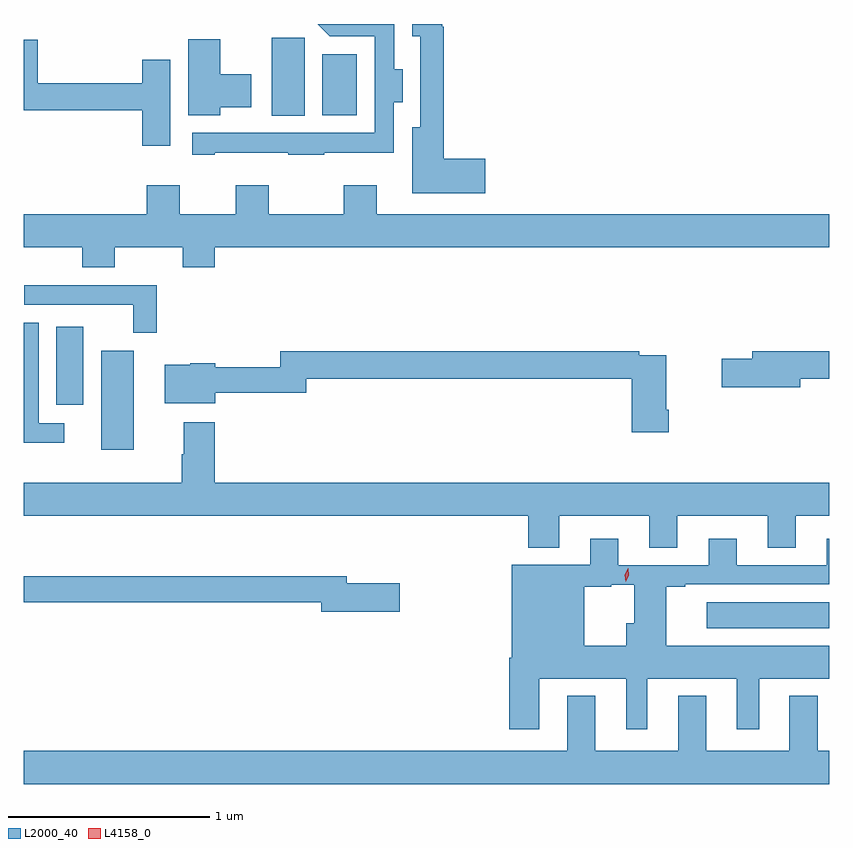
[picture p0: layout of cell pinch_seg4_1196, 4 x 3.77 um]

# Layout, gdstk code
import gdstk
lib = gdstk.Library(unit=1e-6, precision=1e-09)
def R(c, l, rs):  # rectangles x0, y0, x1, y1
    for r in rs: c.add(gdstk.rectangle(r[:2], r[2:], *l))
def P(c, l, *ps):  # polygons
    for p in ps: c.add(gdstk.Polygon(p, *l))
L2000_40 = (2000, 40)
L4158_0 = (4158, 0)

pinch_seg4_1196 = lib.new_cell('pinch_seg4_1196')
R(pinch_seg4_1196, L2000_40, [(373.275,808.25,373.883,808.378), (370.268,809.136,370.429,809.626), (370.046,809.358,370.18,809.746), (371.114,810.793,371.278,811.18), (371.366,810.797,371.536,811.099)])
P(pinch_seg4_1196, L2000_40, [(370.831,810.611),(371.197,810.611),(371.197,810.6),(371.375,810.6),(371.375,810.611),(371.721,810.611),(371.721,810.86),(371.764,810.86),(371.764,811.024),(371.722,811.024),(371.722,811.249),(371.342,811.249),(371.403,811.188),(371.625,811.188),(371.625,810.708),(370.719,810.708),(370.719,810.6),(370.831,810.6)],
  [(372.175,810.581),(371.969,810.581),(371.969,811.235),(371.962,811.235),(371.962,811.249),(371.813,811.249),(371.813,811.187),(371.853,811.187),(371.853,810.736),(371.813,810.736),(371.813,810.41),(372.175,810.41)],
  [(370.858,810.836),(371.014,810.836),(371.014,811),(370.858,811),(370.858,811.174),(370.7,811.174),(370.7,810.797),(370.858,810.797)],
  [(370.612,811.072),(370.472,811.072),(370.472,810.956),(369.953,810.956),(369.953,811.171),(369.883,811.171),(369.883,810.82),(370.472,810.82),(370.472,810.645),(370.612,810.645)],
  [(373.883,810.304),(371.635,810.304),(371.635,810.448),(371.471,810.448),(371.471,810.304),(371.101,810.304),(371.101,810.448),(370.937,810.448),(370.937,810.304),(370.657,810.304),(370.657,810.448),(370.493,810.448),(370.493,810.304),(369.883,810.304),(369.883,810.14),(370.175,810.14),(370.175,810.041),(370.335,810.041),(370.335,810.14),(370.672,810.14),(370.672,810.041),(370.832,810.041),(370.832,810.14),(373.883,810.14)],
  [(370.544,809.952),(369.885,809.952),(369.885,809.856),(370.426,809.856),(370.426,809.715),(370.544,809.715)],
  [(370.084,809.268),(369.958,809.268),(369.958,809.766),(369.883,809.766),(369.883,809.171),(370.084,809.171)],
  [(373.085,809.335),(373.072,809.335),(373.072,809.604),(372.938,809.604),(372.938,809.624),(371.157,809.624),(371.157,809.546),(370.834,809.546),(370.834,809.565),(370.709,809.565),(370.709,809.557),(370.583,809.557),(370.583,809.366),(370.834,809.366),(370.834,809.418),(371.285,809.418),(371.285,809.488),(372.902,809.488),(372.902,809.223),(373.085,809.223)],
  [(373.738,809.488),(373.883,809.488),(373.883,809.624),(373.499,809.624),(373.499,809.588),(373.35,809.588),(373.35,809.446),(373.738,809.446)],
  [(373.129,808.808),(373.577,808.808),(373.577,808.648),(373.717,808.648),(373.717,808.808),(373.883,808.808),(373.883,808.972),(370.832,808.972),(370.832,809.272),(370.679,809.272),(370.679,809.114),(370.667,809.114),(370.667,808.972),(369.883,808.972),(369.883,808.808),(372.389,808.808),(372.389,808.649),(372.541,808.649),(372.541,808.808),(372.989,808.808),(372.989,808.648),(373.129,808.648)],
  [(372.293,808.102),(372.293,807.747),(372.442,807.747),(372.442,807.998),(372.875,807.998),(372.875,807.747),(372.979,807.747),(372.979,807.998),(373.424,807.998),(373.424,807.747),(373.534,807.747),(373.534,807.998),(373.883,807.998),(373.883,808.162),(373.072,808.162),(373.072,808.455),(373.168,808.455),(373.168,808.467),(373.883,808.467),(373.883,808.693),(373.871,808.693),(373.871,808.563),(373.423,808.563),(373.423,808.693),(373.283,808.693),(373.283,808.563),(372.835,808.563),(372.835,808.693),(372.695,808.693),(372.695,808.564),(372.305,808.564),(372.305,808.162),(372.667,808.162),(372.667,808.455),(372.799,808.455),(372.799,808.466),(372.914,808.466),(372.914,808.273),(372.875,808.273),(372.875,808.162),(372.667,808.162),(372.305,808.162),(372.305,808.102)],
  [(371.749,808.473),(371.488,808.473),(371.488,808.507),(369.883,808.507),(369.883,808.378),(371.36,808.378),(371.36,808.331),(371.749,808.331)],
  [(373.883,807.64),(373.825,807.64),(373.825,807.913),(373.685,807.913),(373.685,807.64),(373.273,807.64),(373.273,807.913),(373.133,807.913),(373.133,807.64),(372.721,807.64),(372.721,807.913),(372.581,807.913),(372.581,807.64),(369.883,807.64),(369.883,807.476),(373.883,807.476)])
P(pinch_seg4_1196, L4158_0, [(372.871,808.48),(372.868,808.516),(372.884,808.548),(372.884,808.548),(372.885,808.548),(372.888,808.512),(372.872,808.48),(372.872,808.48)])

lib.write_gds('pinch_seg4_1196.gds')
